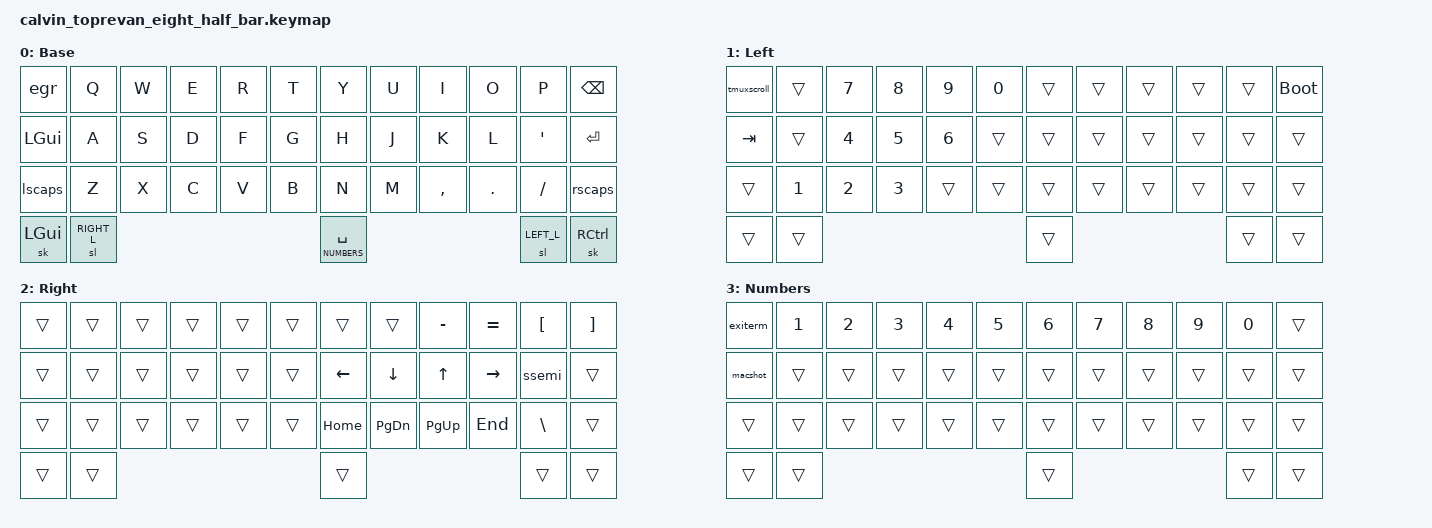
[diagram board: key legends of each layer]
/*
 * Copyright (c) 2024 The ZMK Contributors
 *
 * SPDX-License-Identifier: MIT
 */

#include <behaviors.dtsi>
#include <dt-bindings/zmk/keys.h>

#define LEFT_L 1
#define RIGHT_L 2
#define NUMBERS 3

&sk {
    quick-release;
};

&lt {
    tapping-term-ms = <9999>;
    flavor = "balanced";
    quick-tap-ms = <250>;
};

/ {
    macros {
        exiterm: exiterm {
          compatible = "zmk,behavior-macro";
          #binding-cells = <0>;
          bindings
              = <&macro_press &kp LCTL>
              , <&macro_tap &kp BSLH>
              , <&macro_tap &kp N>
              , <&macro_release &kp LCTL>
              ;
        };
        tmuxscroll: tmuxscroll {
          compatible = "zmk,behavior-macro";
          #binding-cells = <0>;
          bindings
              = <&macro_press &kp LCTL>
              , <&macro_tap &kp A>
              , <&macro_release &kp LCTL>
              , <&macro_tap &kp PG_UP>
              ;
          };
        macshot: macshot {
          compatible = "zmk,behavior-macro";
          #binding-cells = <0>;
          bindings
              = <&macro_press &kp LSFT>
              , <&macro_press &kp LGUI>
              , <&macro_tap &kp N4>
              , <&macro_release &kp LSFT>
              , <&macro_release &kp LGUI>
              ;
          };
    };
    behaviors {
        lscaps: left_shift_capslock {
            compatible = "zmk,behavior-mod-morph";
            #binding-cells = <0>;
            bindings = <&sk LSHFT>, <&caps_word>;
            mods = <(MOD_RSFT)>;
        };
        rscaps: right_shift_capslock {
            compatible = "zmk,behavior-mod-morph";
            #binding-cells = <0>;
            bindings = <&sk RSHFT>, <&caps_word>;
            mods = <(MOD_LSFT)>;
        };
        egr: egr{
            compatible = "zmk,behavior-mod-morph";
            #binding-cells = <0>;
            bindings = <&kp ESC>, <&kp GRAVE>;
            mods = <(MOD_RCTL)>;
        };
        ssemi: semi_shift{
            compatible = "zmk,behavior-mod-morph";
            #binding-cells = <0>;
            bindings = <&kp COLON>, <&kp SEMI>;
            mods = <(MOD_LSFT|MOD_RSFT)>;
        };
    };

    keymap {
        compatible = "zmk,keymap";

        base_layer {
            display-name = "Base";
            bindings = <
&egr        &kp Q        &kp W    &kp E       &kp R          &kp T        &kp Y            &kp U          &kp I       &kp O      &kp P         &kp BACKSPACE
&kp LGUI    &kp A        &kp S    &kp D       &kp F          &kp G        &kp H            &kp J          &kp K       &kp L      &kp QUOT      &kp RET
&lscaps     &kp Z        &kp X    &kp C       &kp V          &kp B        &kp N            &kp M          &kp COMMA   &kp DOT    &kp FSLH      &rscaps
&sk LGUI    &sl RIGHT_L                                                   &lt NUMBERS SPACE                                      &sl LEFT_L    &sk RCTL
            >;
        };

        left_layer {
            display-name = "Left";
            bindings = <
&tmuxscroll &trans       &kp N7    &kp N8      &kp N9         &kp N0       &trans           &trans         &trans      &trans     &trans        &bootloader
&kp TAB     &trans       &kp N4    &kp N5      &kp N6         &trans       &trans           &trans         &trans      &trans     &trans        &trans
&trans      &kp N1       &kp N2    &kp N3      &trans         &trans       &trans           &trans         &trans      &trans     &trans        &trans
&trans      &trans                                                         &trans                                                 &trans        &trans
            >;
        };

        right_layer {
            display-name = "Right";
            bindings = <
&trans      &trans       &trans   &trans      &trans         &trans       &trans           &trans         &kp MINUS   &kp EQUAL  &kp LBKT       &kp RBKT
&trans      &trans       &trans   &trans      &trans         &trans       &kp LEFT         &kp DOWN       &kp UP      &kp RIGHT  &ssemi         &trans
&trans      &trans       &trans   &trans      &trans         &trans       &kp HOME         &kp PG_DN      &kp PG_UP   &kp END    &kp BSLH       &trans
&trans      &trans                                                        &trans                                                 &trans         &trans
            >;
        };

        numbers {
            display-name = "Numbers";
            bindings = <
&exiterm    &kp N1       &kp N2   &kp N3      &kp N4         &kp N5       &kp N6           &kp N7         &kp N8      &kp N9     &kp N0         &trans
&macshot    &trans       &trans   &trans      &trans         &trans       &trans           &trans         &trans      &trans     &trans         &trans
&trans      &trans       &trans   &trans      &trans         &trans       &trans           &trans         &trans      &trans     &trans         &trans
&trans      &trans                                                        &trans                                                 &trans         &trans
            >;
        };
    };
};
